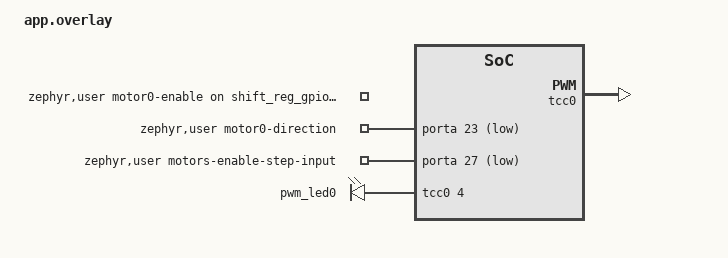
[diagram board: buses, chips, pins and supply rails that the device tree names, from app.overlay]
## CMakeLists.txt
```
# SPDX-License-Identifier: Apache-2.0

cmake_minimum_required(VERSION 3.20.0)
find_package(Zephyr REQUIRED HINTS $ENV{ZEPHYR_BASE})
project(manowar)

FILE(GLOB app_sources src/*.c)
target_sources(app PRIVATE ${app_sources})
```

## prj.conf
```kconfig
CONFIG_FPU=y
CONFIG_BUILD_OUTPUT_HEX=y
CONFIG_INIT_STACKS=y
CONFIG_HW_STACK_PROTECTION=y
CONFIG_SERIAL=y
CONFIG_SPI=y
CONFIG_LOG=y
CONFIG_CONSOLE=y
CONFIG_SOC_ATMEL_SAMD5X_OSCULP32K_AS_MAIN=y
CONFIG_ARM_MPU=y
CONFIG_UART_CONSOLE=y
CONFIG_PWM=y
CONFIG_UART_LINE_CTRL=y
CONFIG_REQUIRES_FLOAT_PRINTF=y
# CONFIG_CBPRINTF_FP_SUPPORT is not set
CONFIG_DEBUG=y
CONFIG_DEBUG_INFO=y
CONFIG_DEBUG_THREAD_INFO=y
CONFIG_LOG_PROCESS_TRIGGER_THRESHOLD=1
CONFIG_LOG_PROCESS_THREAD_STACK_SIZE=2048
CONFIG_LOG_BUFFER_SIZE=2048
CONFIG_LOG_SPEED=y
CONFIG_USB_DEVICE_STACK=y
CONFIG_USB_DEVICE_VID=0x2890
CONFIG_USB_DEVICE_PID=0x0022
CONFIG_USB_DEVICE_MANUFACTURER="Teknic,Inc"
CONFIG_USB_DEVICE_PRODUCT="ClearCore"
CONFIG_BOOTLOADER_BOSSA=y
CONFIG_BOOTLOADER_BOSSA_DEVICE_NAME="cdc_acm_uart0"
CONFIG_BOOTLOADER_BOSSA_ADAFRUIT_UF2=y
```

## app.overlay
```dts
&pinctrl {
	pwm_default: pwm_default {
		group1 {
			pinmux = <PC14F_TCC0_WO4>;
		};
	};
};

/ {
	zephyr,user {
		motor0-enable-gpios = <&shift_reg_gpios 20 GPIO_ACTIVE_HIGH>;
		motor0-direction-gpios = <&porta 23 GPIO_ACTIVE_LOW>;
		motors-enable-step-input-gpios = <&porta 27 GPIO_ACTIVE_LOW>;
	};
	pwmleds {
		compatible = "pwm-leds";
		pwm_led0: pwm_led_0 {
			pwms = <&tcc0 4 PWM_MSEC(3000)>;
		};
	};
};

&tcc0 {
	status = "okay";
	compatible = "atmel,sam0-tcc-pwm";
	prescaler = <256>;
	#pwm-cells = <2>;

	pinctrl-0 = <&pwm_default>;
	pinctrl-names = "default";
};
```

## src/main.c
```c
/*
 * Copyright (c) 2016 Intel Corporation.
 *
 * SPDX-License-Identifier: Apache-2.0
 */

#include "zephyr/dt-bindings/pwm/pwm.h"
#include <zephyr/sys/util.h>
#include <zephyr/drivers/pwm.h>
#include <zephyr/kernel.h>
#include <zephyr/drivers/gpio.h>
#include <zephyr/logging/log.h>
#include <zephyr/usb/usb_device.h>

LOG_MODULE_REGISTER(main);

#define ZEPHYR_USER_NODE DT_PATH(zephyr_user)

static const struct gpio_dt_spec led = GPIO_DT_SPEC_GET(DT_ALIAS(led0), gpios);
static const struct gpio_dt_spec motor0_enable =
	GPIO_DT_SPEC_GET(ZEPHYR_USER_NODE, motor0_enable_gpios);
static const struct gpio_dt_spec motor0_direction =
	GPIO_DT_SPEC_GET(ZEPHYR_USER_NODE, motor0_direction_gpios);
static const struct gpio_dt_spec motors_enable_step_input =
	GPIO_DT_SPEC_GET(ZEPHYR_USER_NODE, motors_enable_step_input_gpios);

struct gpio {
	const char *name;
	const struct gpio_dt_spec *spec;
};

static struct gpio gpios[] = {
	{.name = "User LED", .spec = &led},
	{.name = "Motor0 enable", .spec = &motor0_enable},
	{.name = "Motor0 direction", .spec = &motor0_direction},
	{.name = "Motors step input enable", .spec = &motors_enable_step_input}};

static const struct pwm_dt_spec pwm_led0 = PWM_DT_SPEC_GET(DT_NODELABEL(pwm_led0));

static void init_gpios(void)
{
	int ret;

	for (size_t i = 0; i < ARRAY_SIZE(gpios); ++i) {
		if (!gpio_is_ready_dt(gpios[i].spec)) {
			LOG_ERR("GPIO pin %s is not ready!", gpios[i].name);
			continue;
		}
		if ((ret = gpio_pin_configure_dt(gpios[i].spec, GPIO_OUTPUT_INACTIVE)) < 0) {
			LOG_ERR("Error configuring GPIO pin %s: %d", gpios[i].name, ret);
		}
	}

	gpio_pin_set_dt(&motors_enable_step_input, 1);
}

int main(void)
{
	int ret;

	if ((ret = usb_enable(NULL)) < 0) {
		return ret;
	}

	init_gpios();

	if (!pwm_is_ready_dt(&pwm_led0)) {
		LOG_ERR("Error: PWM device %s is not ready\n", pwm_led0.dev->name);
	}

	if ((ret = pwm_set_dt(&pwm_led0, PWM_SEC(2), PWM_SEC(1))) < 0) {
		LOG_ERR("Error setting period for pwm_led0!");
	}

	for (size_t i = 0;; i++) {
		LOG_INF("%6zu: Hello, world!", i);
		gpio_pin_toggle_dt(&led);
		gpio_pin_toggle_dt(&motor0_enable);
		gpio_pin_toggle_dt(&motor0_direction);
		k_sleep(K_SECONDS(5));
	}
}
```
